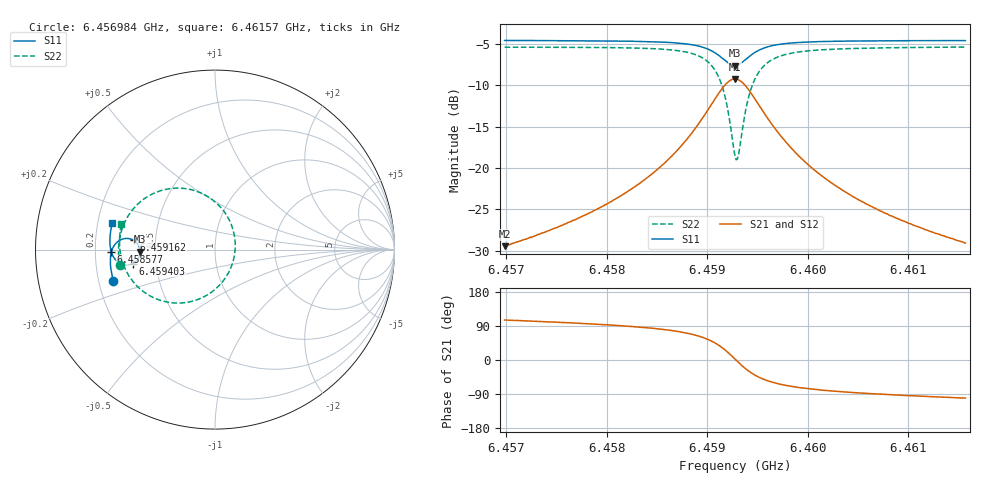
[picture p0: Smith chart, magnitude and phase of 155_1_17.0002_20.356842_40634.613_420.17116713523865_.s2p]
#  HZ  S  RI  R  50.00
! Rohde & Schwarz Vector Network Analyzer
! Rohde-Schwarz,ZNB20-2Port,1311601062101988,3.16
! Created: UTC 3/20/2024, 10:59:00 PM
! freq[Hz]  re:S11  im:S11  re:S21  im:S21  re:S12  im:S12  re:S22  im:S22
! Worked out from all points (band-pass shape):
!   401 points, 6.456984 GHz to 6.46157 GHz, reference 50 ohm
!   highest |S21| = -9.21 dB at 6.459277 GHz (marker M1); lowest = -29.5 dB at 6.456984 GHz (marker M2)
!   |S21| within 3 dB of the highest: 6.459047 GHz to 6.459506 GHz (458.9 kHz wide, 0.0071 % of centre)
!   lowest |S11| = -7.6 dB at 6.459277 GHz (marker M3), VSWR 2.43, Z = 20.6 - j0.577 ohm
!   |S11| at or under -10 dB: nowhere
!   |S22| runs from -19.0 to -5.3 dB; largest |S21 - S12| = 0.014
!   S11 on the Smith chart (normalised r, x): 6.456984 GHz: 0.26, -0.14; 6.458577 GHz: 0.27, -0.01; 6.459162 GHz: 0.37, +0.05; 6.459403 GHz: 0.37, -0.07; 6.46157 GHz: 0.26, +0.12
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6.4569837e9  -0.5663 -0.1731  -0.00898 0.0325  -0.00731 0.0326  -0.5319 -0.0854
6.4577518e9  -0.5804 -0.1059  -0.00579 0.0506  -0.00312 0.05  -0.5375 0.00459
6.4581646e9  -0.5833 -0.0645  -4.84e-05 0.0695  0.00314 0.068  -0.5299 0.07
6.45852e9  -0.5796 -0.022  0.014 0.0991  0.018 0.0964  -0.5042 0.1496
6.4585773e9  -0.5777 -0.0141  0.0184 0.106  0.0225 0.1029  -0.496 0.1663
6.4587837e9  -0.5647 0.018  0.0459 0.1385  0.0501 0.1337  -0.4444 0.2392
6.4589327e9  -0.542 0.0445  0.0914 0.1693  0.0946 0.1625  -0.3609 0.3039
6.4590703e9  -0.4979 0.062  0.1788 0.1859  0.1798 0.1786  -0.2011 0.3424
6.459162e9  -0.4531 0.0518  0.2691 0.1546  0.2694 0.1488  -0.0346 0.2919
6.4592308e9  -0.424 0.0196  0.3297 0.0825  0.3319 0.0773  0.0809 0.1624
6.4592767e9  -0.4171 -0.0116  0.3459 0.0145  0.3497 0.00754  0.1128 0.0352
6.4592881e9  -0.4175 -0.0198  0.3459 -0.00336  0.3497 -0.0109  0.1123 0.00168
6.459311e9  -0.4211 -0.0354  0.3401 -0.0382  0.3441 -0.0472  0.1013 -0.0642
6.4593569e9  -0.4367 -0.0615  0.3118 -0.0981  0.3138 -0.1098  0.0436 -0.177
6.4594028e9  -0.4588 -0.0779  0.2697 -0.1392  0.2687 -0.1523  -0.0415 -0.2518
6.4594945e9  -0.5023 -0.0849  0.1847 -0.1703  0.1787 -0.1818  -0.2101 -0.2978
6.4596435e9  -0.5463 -0.0645  0.0969 -0.1567  0.0883 -0.1628  -0.3776 -0.2488
6.459804e9  -0.568 -0.0369  0.0519 -0.1288  0.0442 -0.1314  -0.4579 -0.177
6.4600448e9  -0.5809 -0.00137  0.0226 -0.0973  0.0168 -0.0979  -0.5062 -0.0947
6.4603887e9  -0.5856 0.0395  0.00656 -0.0706  0.00245 -0.0701  -0.5279 -0.0158
6.4608129e9  -0.5838 0.0823  -0.00124 -0.0518  -0.00412 -0.0511  -0.5322 0.0523
6.4615696e9  -0.572 0.1494  -0.00646 -0.0346  -0.0081 -0.0337  -0.5212 0.1419
